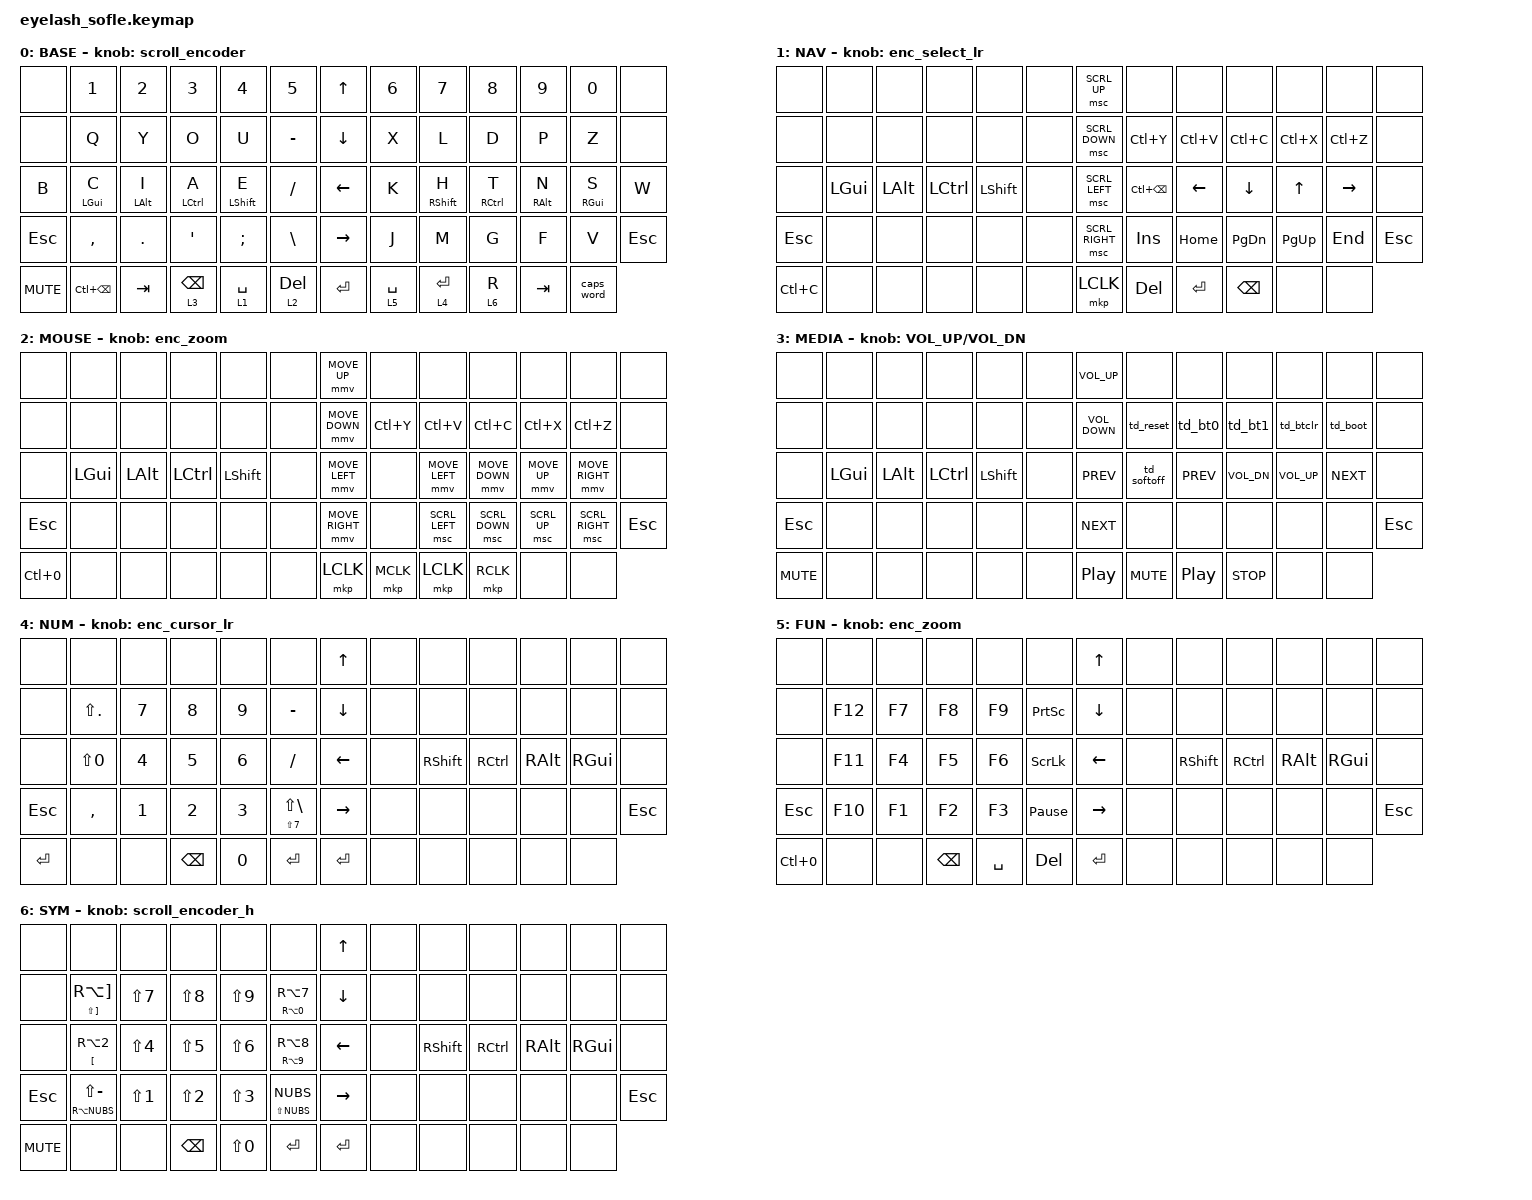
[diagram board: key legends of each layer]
#define ZMK_POINTING_DEFAULT_MOVE_VAL 1200  // 600
#define ZMK_POINTING_DEFAULT_SCRL_VAL 25   // 10

#include <input/processors.dtsi>
#include <zephyr/dt-bindings/input/input-event-codes.h>
#include <behaviors.dtsi>
#include <dt-bindings/zmk/bt.h>
#include <dt-bindings/zmk/keys.h>
#include <dt-bindings/zmk/pointing.h>

&mmv_input_listener { input-processors = <&zip_xy_scaler 2 1>; };

&msc_input_listener { input-processors = <&zip_scroll_scaler 2 1>; };

&msc {
    acceleration-exponent = <1>;
    time-to-max-speed-ms = <100>;
    delay-ms = <0>;
};

&mmv {
    time-to-max-speed-ms = <500>;
    acceleration-exponent = <1>;
    trigger-period-ms = <16>;
};

/ {
    scroll_encoder: scroll_encoder {
        compatible = "zmk,behavior-sensor-rotate";
        #sensor-binding-cells = <0>;
        bindings = <&msc SCRL_DOWN>, <&msc SCRL_UP>;

        tap-ms = <100>;
    };

    scroll_encoder_h: scroll_encoder_h {
        compatible = "zmk,behavior-sensor-rotate";
        #sensor-binding-cells = <0>;
        bindings = <&msc SCRL_RIGHT>, <&msc SCRL_LEFT>;

        tap-ms = <100>;
    };

    enc_zoom: enc_zoom {
        compatible = "zmk,behavior-sensor-rotate";
        #sensor-binding-cells = <0>;
        bindings = <&kp LC(MINUS)>, <&kp LC(SLASH)>;

        tap-ms = <100>;
    };

    enc_cursor_lr: enc_cursor_lr {
        compatible = "zmk,behavior-sensor-rotate";
        #sensor-binding-cells = <0>;
        bindings = <&kp RIGHT>, <&kp LEFT>;

        tap-ms = <100>;
    };

    enc_select_lr: enc_select_lr {
        compatible = "zmk,behavior-sensor-rotate";
        #sensor-binding-cells = <0>;
        bindings = <&kp LS(RIGHT)>, <&kp LS(LEFT)>;

        tap-ms = <100>;
    };

    behaviors {
        hm: homerow_mods {
            compatible = "zmk,behavior-hold-tap";
            #binding-cells = <2>;
            flavor = "balanced";
            tapping-term-ms = <280>;
            quick-tap-ms = <175>;
            require-prior-idle-ms = <150>;
            bindings = <&kp>, <&kp>;
        };

        ht: tap_hold {
            compatible = "zmk,behavior-hold-tap";
            #binding-cells = <2>;
            flavor = "tap-preferred";
            tapping-term-ms = <200>;
            quick-tap-ms = <175>;
            require-prior-idle-ms = <150>;
            bindings = <&kp>, <&kp>;
        };

        td_softoff: td_softoff {
            compatible = "zmk,behavior-tap-dance";
            #binding-cells = <0>;
            tapping-term-ms = <200>;
            bindings = <&none>, <&soft_off>;
        };

        td_boot: td_boot {
            compatible = "zmk,behavior-tap-dance";
            #binding-cells = <0>;
            tapping-term-ms = <200>;
            bindings = <&none>, <&bootloader>;
        };

        td_reset: td_reset {
            compatible = "zmk,behavior-tap-dance";
            #binding-cells = <0>;
            tapping-term-ms = <200>;
            bindings = <&none>, <&sys_reset>;
        };

        td_btclr: td_btclr {
            compatible = "zmk,behavior-tap-dance";
            #binding-cells = <0>;
            tapping-term-ms = <200>;
            bindings = <&none>, <&bt BT_CLR>;
        };

        td_bt0: td_bt0 {
            compatible = "zmk,behavior-tap-dance";
            #binding-cells = <0>;
            tapping-term-ms = <200>;
            bindings = <&none>, <&bt BT_SEL 0>;
        };

        td_bt1: td_bt1 {
            compatible = "zmk,behavior-tap-dance";
            #binding-cells = <0>;
            tapping-term-ms = <200>;
            bindings = <&none>, <&bt BT_SEL 1>;
        };
    };

    keymap {
        compatible = "zmk,keymap";

        BASE {
            bindings = <
&none       &kp N1             &kp N2      &kp N3       &kp N4        &kp N5       &kp UP     &kp N6       &kp N7        &kp N8       &kp N9      &kp N0      &none
&none       &kp Q              &kp Y       &kp O        &kp U         &kp MINUS    &kp DOWN   &kp X        &kp L         &kp D        &kp P       &kp Z       &none
&kp B       &hm LGUI C         &hm LALT I  &hm LCTRL A  &hm LSHIFT E  &kp SLASH    &kp LEFT   &kp K        &hm RSHIFT H  &hm RCTRL T  &hm RALT N  &hm RGUI S  &kp W
&kp ESC     &kp COMMA          &kp PERIOD  &kp APOS     &kp SEMI      &kp BSLH     &kp RIGHT  &kp J        &kp M         &kp G        &kp F       &kp V       &kp ESC
&kp C_MUTE  &kp LC(BACKSPACE)  &kp TAB     &lt 3 BSPC   &lt 1 SPACE   &lt 2 DEL    &kp ENTER  &lt 5 SPACE  &lt 4 ENTER   &lt 6 R      &kp TAB     &caps_word
            >;

            display-name = "BASE";
            sensor-bindings = <&scroll_encoder>;
        };

        NAV {
            bindings = <
&none      &none     &none     &none      &none       &none    &msc SCRL_UP     &none              &none      &none          &none        &none      &none
&none      &none     &none     &none      &none       &none    &msc SCRL_DOWN   &kp LC(Y)          &kp LC(V)  &kp LC(C)      &kp LC(X)    &kp LC(Z)  &none
&none      &kp LGUI  &kp LALT  &kp LCTRL  &kp LSHIFT  &none    &msc SCRL_LEFT   &kp LC(BACKSPACE)  &kp LEFT   &kp DOWN       &kp UP       &kp RIGHT  &none
&kp ESC    &none     &none     &none      &none       &none    &msc SCRL_RIGHT  &kp INS            &kp HOME   &kp PAGE_DOWN  &kp PAGE_UP  &kp END    &kp ESC
&kp LC(C)  &none     &none     &none      &none       &none    &mkp LCLK        &kp DEL            &kp ENTER  &kp BACKSPACE  &none        &none
            >;

            display-name = "NAV";
            sensor-bindings = <&enc_select_lr>;
        };

        MOUSE {
            bindings = <
&none       &none     &none     &none      &none       &none    &mmv MOVE_UP     &none      &none           &none           &none         &none            &none
&none       &none     &none     &none      &none       &none    &mmv MOVE_DOWN   &kp LC(Y)  &kp LC(V)       &kp LC(C)       &kp LC(X)     &kp LC(Z)        &none
&none       &kp LGUI  &kp LALT  &kp LCTRL  &kp LSHIFT  &none    &mmv MOVE_LEFT   &none      &mmv MOVE_LEFT  &mmv MOVE_DOWN  &mmv MOVE_UP  &mmv MOVE_RIGHT  &none
&kp ESC     &none     &none     &none      &none       &none    &mmv MOVE_RIGHT  &none      &msc SCRL_LEFT  &msc SCRL_DOWN  &msc SCRL_UP  &msc SCRL_RIGHT  &kp ESC
&kp LC(N0)  &none     &none     &none      &none       &none    &mkp LCLK        &mkp MCLK  &mkp LCLK       &mkp RCLK       &none         &none
            >;

            display-name = "MOUSE";
            sensor-bindings = <&enc_zoom>;
        };

        MEDIA {
            bindings = <
&none       &none     &none     &none      &none       &none    &kp C_VOLUME_UP    &none        &none       &none         &none         &none       &none
&none       &none     &none     &none      &none       &none    &kp C_VOLUME_DOWN  &td_reset    &td_bt0     &td_bt1       &td_btclr     &td_boot    &none
&none       &kp LGUI  &kp LALT  &kp LCTRL  &kp LSHIFT  &none    &kp C_PREV         &td_softoff  &kp C_PREV  &kp C_VOL_DN  &kp C_VOL_UP  &kp C_NEXT  &none
&kp ESC     &none     &none     &none      &none       &none    &kp C_NEXT         &none        &none       &none         &none         &none       &kp ESC
&kp C_MUTE  &none     &none     &none      &none       &none    &kp C_PP           &kp C_MUTE   &kp C_PP    &kp C_STOP    &none         &none
            >;

            display-name = "MEDIA";
            sensor-bindings = <&inc_dec_kp C_VOL_UP C_VOL_DN>;
        };

        NUM {
            bindings = <
&none      &none           &none   &none          &none   &none                       &kp UP     &none  &none       &none      &none     &none     &none
&none      &kp LS(PERIOD)  &kp N7  &kp N8         &kp N9  &kp MINUS                   &kp DOWN   &none  &none       &none      &none     &none     &none
&none      &kp LS(N0)      &kp N4  &kp N5         &kp N6  &kp SLASH                   &kp LEFT   &none  &kp RSHIFT  &kp RCTRL  &kp RALT  &kp RGUI  &none
&kp ESC    &kp COMMA       &kp N1  &kp N2         &kp N3  &ht LS(N7) LS(BACKSLASH)    &kp RIGHT  &none  &none       &none      &none     &none     &kp ESC
&kp ENTER  &none           &none   &kp BACKSPACE  &kp N0  &kp ENTER                   &kp ENTER  &none  &none       &none      &none     &none
            >;

            display-name = "NUM";
            sensor-bindings = <&enc_cursor_lr>;
        };

        FUN {
            bindings = <
&none       &none    &none   &none          &none      &none              &kp UP     &none  &none       &none      &none     &none     &none
&none       &kp F12  &kp F7  &kp F8         &kp F9     &kp PRINTSCREEN    &kp DOWN   &none  &none       &none      &none     &none     &none
&none       &kp F11  &kp F4  &kp F5         &kp F6     &kp SCROLLLOCK     &kp LEFT   &none  &kp RSHIFT  &kp RCTRL  &kp RALT  &kp RGUI  &none
&kp ESC     &kp F10  &kp F1  &kp F2         &kp F3     &kp PAUSE_BREAK    &kp RIGHT  &none  &none       &none      &none     &none     &kp ESC
&kp LC(N0)  &none    &none   &kp BACKSPACE  &kp SPACE  &kp DEL            &kp ENTER  &none  &none       &none      &none     &none
            >;

            display-name = "FUN";
            sensor-bindings = <&enc_zoom>;
        };

        SYM {
            bindings = <
&none       &none                   &none       &none          &none       &none                &kp UP     &none  &none       &none      &none     &none     &none
&none       &ht LS(RBKT) RA(RBKT)   &kp LS(N7)  &kp LS(N8)     &kp LS(N9)  &ht RA(N0) RA(N7)    &kp DOWN   &none  &none       &none      &none     &none     &none
&none       &ht LBKT RA(N2)         &kp LS(N4)  &kp LS(N5)     &kp LS(N6)  &ht RA(N9) RA(N8)    &kp LEFT   &none  &kp RSHIFT  &kp RCTRL  &kp RALT  &kp RGUI  &none
&kp ESC     &ht RA(NUBS) LS(MINUS)  &kp LS(N1)  &kp LS(N2)     &kp LS(N3)  &ht LS(NUBS) NUBS    &kp RIGHT  &none  &none       &none      &none     &none     &kp ESC
&kp C_MUTE  &none                   &none       &kp BACKSPACE  &kp LS(N0)  &kp ENTER            &kp ENTER  &none  &none       &none      &none     &none
            >;

            display-name = "SYM";
            sensor-bindings = <&scroll_encoder_h>;
        };
    };

    combos {
        compatible = "zmk,combos";

        combo_tab {
            timeout-ms = <40>;
            key-positions = <55 56>;   // lt3/BSPC + lt1/SPACE on Sofle
            bindings = <&kp TAB>;
            layers = <0>;
        };

        combo_caps_word {
            timeout-ms = <50>;
            key-positions = <30 34>;   // hm LSHIFT E + hm RSHIFT H on Sofle
            bindings = <&caps_word>;
            layers = <0>;
        };
    };
};
